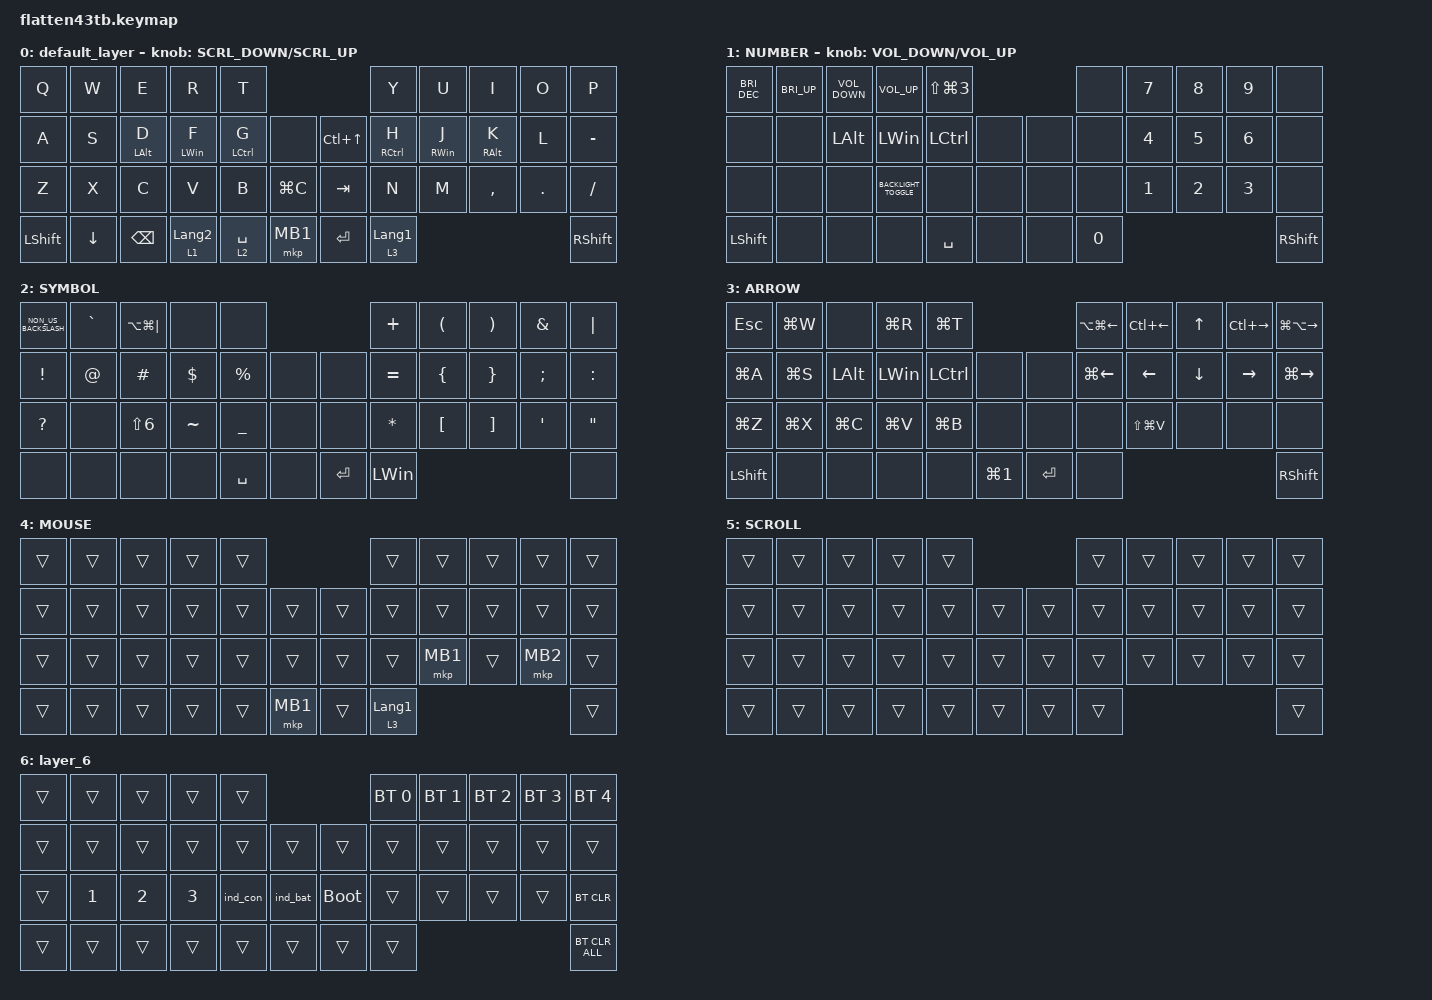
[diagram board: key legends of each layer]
#define ZMK_POINTING_DEFAULT_SCRL_VAL 150

#include <behaviors/rgbled_widget.dtsi>
#include <dt-bindings/zmk/input_transform.h>
#include <input/processors.dtsi>
#include <zephyr/dt-bindings/input/input-event-codes.h>
#include <behaviors.dtsi>
#include <dt-bindings/zmk/bt.h>
#include <dt-bindings/zmk/keys.h>
#include <dt-bindings/zmk/pointing.h>

&mt {
    flavor = "balanced";
    quick-tap-ms = <0>;
    tapping-term-ms = <260>;
};

&mmv {
    delay-ms = <20>;
    trigger-period-ms = <5>;
    time-to-max-speed-ms = <100>;
    acceleration-exponent = <2>;
};

&msc {
    delay-ms = <3>;
    trigger-period-ms = <3>;
    time-to-max-speed-ms = <100>;
    acceleration-exponent = <0>;
};

/ {
    input_processors {
        zip_wheel_scaler: zip_wheel_scaler {
            compatible = "zmk,input-processor-scaler";
            #input-processor-cells = <2>;
            type = <INPUT_EV_REL>;
            codes = <INPUT_REL_WHEEL>;
            track-remainders;
        };
    };
};

/ {
    combos {
        compatible = "zmk,combos";

        scroll1 {
            bindings = <&mo 5>;
            key-positions = <19 20>;
        };
    };

    macros {
        to_layer_0: to_layer_0 {
            compatible = "zmk,behavior-macro-one-param";
            #binding-cells = <1>;
            bindings = <&to 0 &macro_param_1to1 &kp MACRO_PLACEHOLDER>;
            label = "TO_LAYER_0";
        };
    };

    behaviors {
        lt_to_layer_0: lt_to_layer_0 {
            compatible = "zmk,behavior-hold-tap";
            label = "LAYER_TAP_TO_0";
            bindings = <&mo>, <&to_layer_0>;

            #binding-cells = <2>;
            tapping-term-ms = <260>;
        };

        sensor_rotate_kp: sensor_rotate_kp {
            compatible = "zmk,behavior-sensor-rotate-var";
            #sensor-binding-cells = <2>;
            bindings = <&kp>, <&kp>;
        };

        mouse_wheel_scroll: mouse_wheel_scroll {
            compatible = "zmk,behavior-sensor-rotate-var";
            #sensor-binding-cells = <2>;
            bindings = <&msc>, <&msc>;

            tap-ms = <20>;
        };
    };

    keymap {
        compatible = "zmk,keymap";

        default_layer {
            bindings = <
&kp Q           &kp W     &kp E           &kp R             &kp T                                                &kp Y                &kp U            &kp I            &kp O       &kp P
&kp A           &kp S     &mt LEFT_ALT D  &mt LEFT_WIN F    &mt LEFT_CONTROL G  &none          &kp LC(UP_ARROW)  &mt RIGHT_CONTROL H  &mt RIGHT_WIN J  &mt RIGHT_ALT K  &kp L       &kp MINUS
&kp Z           &kp X     &kp C           &kp V             &kp B               &kp LG(C)      &kp TAB           &kp N                &kp M            &kp COMMA        &kp PERIOD  &kp SLASH
&kp LEFT_SHIFT  &kp DOWN  &kp BACKSPACE   &lt 1 LANGUAGE_2  &lt 2 SPACE         &mkp MB1       &kp ENTER         &lt 3 LANGUAGE_1                                                   &kp RIGHT_SHIFT
            >;

            sensor-bindings = <&mouse_wheel_scroll SCRL_DOWN SCRL_UP>;
        };

        NUMBER {
            bindings = <
&kp C_BRI_DEC   &kp C_BRI_UP  &kp C_VOLUME_DOWN  &kp C_VOLUME_UP         &kp LS(LG(NUMBER_3))                    &none   &kp N7        &kp NUMBER_8  &kp NUMBER_9  &none
&none           &none         &kp LEFT_ALT       &kp LEFT_WIN            &kp LEFT_CONTROL      &none      &none  &none   &kp NUMBER_4  &kp NUMBER_5  &kp NUMBER_6  &none
&none           &none         &none              &kp C_BACKLIGHT_TOGGLE  &none                 &none      &none  &none   &kp NUMBER_1  &kp NUMBER_2  &kp NUMBER_3  &none
&kp LEFT_SHIFT  &none         &none              &none                   &kp SPACE             &none      &none  &kp N0                                            &kp RIGHT_SHIFT
            >;

            sensor-bindings = <&sensor_rotate_kp C_VOLUME_DOWN C_VOLUME_UP>;
        };

        SYMBOL {
            bindings = <
&kp NON_US_BACKSLASH  &kp GRAVE    &kp LA(LG(PIPE))  &none       &none                                 &kp PLUS      &kp LEFT_PARENTHESIS  &kp RIGHT_PARENTHESIS  &kp AMPERSAND  &kp PIPE
&kp EXCLAMATION       &kp AT_SIGN  &kp HASH          &kp DOLLAR  &kp PERCENT     &none      &none      &kp EQUAL     &kp LEFT_BRACE        &kp RIGHT_BRACE        &kp SEMICOLON  &kp COLON
&kp QUESTION          &none        &kp LS(NUMBER_6)  &kp TILDE   &kp UNDERSCORE  &none      &none      &kp ASTERISK  &kp LEFT_BRACKET      &kp RIGHT_BRACKET      &kp SQT        &kp DOUBLE_QUOTES
&none                 &none        &none             &none       &kp SPACE       &none      &kp ENTER  &kp LEFT_WIN                                                              &none
            >;
        };

        ARROW {
            bindings = <
&kp ESCAPE      &kp LG(W)  &none         &kp LG(R)     &kp LG(T)                                          &kp LA(LG(LEFT_ARROW))  &kp LC(LEFT_ARROW)  &kp UP          &kp LC(RIGHT_ARROW)  &kp LG(LA(RIGHT_ARROW))
&kp LG(A)       &kp LG(S)  &kp LEFT_ALT  &kp LEFT_WIN  &kp LEFT_CONTROL  &none                 &none      &kp LG(LEFT)            &kp LEFT_ARROW      &kp DOWN_ARROW  &kp RIGHT_ARROW      &kp LG(RIGHT)
&kp LG(Z)       &kp LG(X)  &kp LG(C)     &kp LG(V)     &kp LG(B)         &none                 &none      &none                   &kp LS(LG(V))       &none           &none                &none
&kp LEFT_SHIFT  &none      &none         &none         &none             &kp LG(NUMBER_1)      &kp ENTER  &none                                                                            &kp RIGHT_SHIFT
            >;
        };

        MOUSE {
            bindings = <
&trans  &trans  &trans  &trans  &trans                        &trans                       &trans    &trans  &trans    &trans
&trans  &trans  &trans  &trans  &trans  &trans        &trans  &trans                       &trans    &trans  &trans    &trans
&trans  &trans  &trans  &trans  &trans  &trans        &trans  &trans                       &mkp MB1  &trans  &mkp MB2  &trans
&trans  &trans  &trans  &trans  &trans  &mkp MB1      &trans  &lt_to_layer_0 3 LANGUAGE_1                              &trans
            >;
        };

        SCROLL {
            bindings = <
&trans  &trans  &trans  &trans  &trans                      &trans  &trans  &trans  &trans  &trans
&trans  &trans  &trans  &trans  &trans  &trans      &trans  &trans  &trans  &trans  &trans  &trans
&trans  &trans  &trans  &trans  &trans  &trans      &trans  &trans  &trans  &trans  &trans  &trans
&trans  &trans  &trans  &trans  &trans  &trans      &trans  &trans                          &trans
            >;
        };

        layer_6 {
            bindings = <
&trans  &trans        &trans        &trans        &trans                               &bt BT_SEL 0  &bt BT_SEL 1  &bt BT_SEL 2  &bt BT_SEL 3  &bt BT_SEL 4
&trans  &trans        &trans        &trans        &trans    &trans        &trans       &trans        &trans        &trans        &trans        &trans
&trans  &kp NUMBER_1  &kp NUMBER_2  &kp NUMBER_3  &ind_con  &ind_bat      &bootloader  &trans        &trans        &trans        &trans        &bt BT_CLR
&trans  &trans        &trans        &trans        &trans    &trans        &trans       &trans                                                  &bt BT_CLR_ALL
            >;
        };
    };
};
